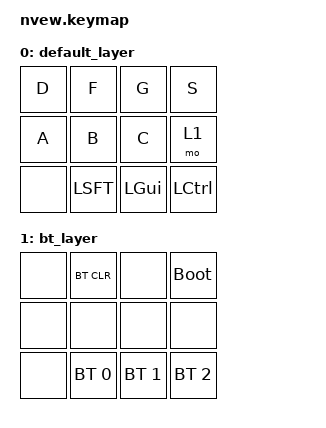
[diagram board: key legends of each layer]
#include <behaviors.dtsi>
#include <dt-bindings/zmk/keys.h>
#include <dt-bindings/zmk/bt.h>

/ {  
    keymap {
        compatible = "zmk,keymap";

        default_layer {
            bindings = <
                &kp D      &kp F      &kp G      &kp S    // Row 1: Leftmost key is on the left half, the rest on the right half
                &kp A      &kp B      &kp C      &mo 1    // Row 2: Leftmost key is on the left half, the rest on the right half
                &none      &kp LSFT   &kp LGUI   &kp LCTRL  // Row 3: Left half has no key in this row
            >;
        };

        bt_layer {
            bindings = <
            &none       &bt BT_CLR      &none           &bootloader
            &none       &none           &none           &none
            &none       &bt BT_SEL 0    &bt BT_SEL 1    &bt BT_SEL 2
            >;
        };
    };
};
